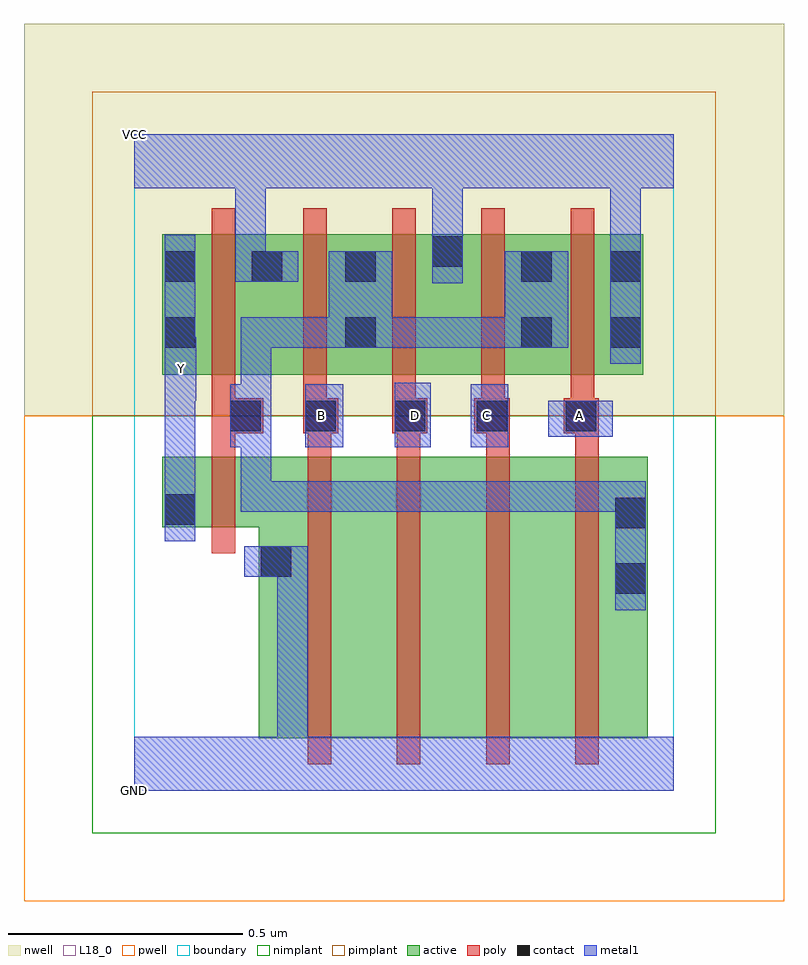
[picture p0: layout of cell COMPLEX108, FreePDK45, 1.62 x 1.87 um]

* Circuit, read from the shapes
.subckt COMPLEX108 A B C D GND VCC Y
M1 GND n1 Y VSUBS nfet w=0.15u l=0.05u
M2 n2 B GND VSUBS nfet w=0.6u l=0.05u
M3 n3 D n2 VSUBS nfet w=0.6u l=0.05u
M4 n4 C n3 VSUBS nfet w=0.6u l=0.05u
M5 n1 A n4 VSUBS nfet w=0.6u l=0.05u
M6 VCC n1 Y n5 pfet w=0.3u l=0.05u
M7 n1 B VCC n5 pfet w=0.3u l=0.05u
M8 VCC D n1 n5 pfet w=0.3u l=0.05u
M9 n1 C VCC n5 pfet w=0.3u l=0.05u
M10 VCC A n1 n5 pfet w=0.3u l=0.05u
.ends

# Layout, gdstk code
import gdstk
lib = gdstk.Library(unit=1e-6, precision=1e-09)
def R(c, l, rs):  # rectangles x0, y0, x1, y1
    for r in rs: c.add(gdstk.rectangle(r[:2], r[2:], *l))
def A(c, l, x, y, w, h, nx, ny, dx, dy):  # array of equal rectangles
    R(c, l, [(x+i*dx, y+j*dy, x+i*dx+w, y+j*dy+h) for i in range(nx) for j in range(ny)])
active = (1, 0)
pwell = (2, 0)
nwell = (3, 0)
nimplant = (4, 0)
pimplant = (5, 0)
poly = (9, 0)
contact = (10, 0)
metal1 = (11, 0)
L18_0 = (18, 0)
boundary = (235, 0)

complex108 = lib.new_cell('COMPLEX108')
R(complex108, active, [(0.265,0.112,0.49,0.712), (0.49,0.112,0.68,0.712), (0.68,0.112,0.87,0.712), (0.87,0.112,1.095,0.712), (1.02,0.145,1.095,0.712), (0.265,0.452,0.34,0.697), (0.06,0.562,0.34,0.712), (0.06,0.562,0.135,0.712), (0.06,0.887,0.135,1.167), (0.06,0.887,0.32,1.187), (0.245,0.887,0.52,1.187), (0.445,0.887,0.52,1.167), (0.445,0.887,0.705,1.187), (0.63,0.887,0.895,1.187), (0.82,0.887,1.085,1.187), (0.82,0.887,0.895,1.187), (1.01,0.887,1.085,1.167), (0.245,1.002,0.32,1.167), (0.63,1.002,0.705,1.187)])
R(complex108, pwell, [(-0.235,-0.235,1.385,0.8)])
R(complex108, nwell, [(-0.235,0.8,1.385,1.635)])
R(complex108, nimplant, [(-0.09,-0.09,1.24,0.8)])
R(complex108, pimplant, [(-0.09,0.8,1.24,1.49)])
A(complex108, poly, 0.37, 0.057, 0.05, 0.71, 4, 1, 0.19, 0)
A(complex108, poly, 0.37, 0.717, 0.05, 0.095, 4, 1, 0.19, 0)
A(complex108, poly, 0.36, 0.787, 0.05, 0.095, 4, 1, 0.19, 0)
A(complex108, poly, 0.36, 0.832, 0.05, 0.41, 4, 1, 0.19, 0)
R(complex108, poly, [(0.165,0.507,0.215,0.767), (0.165,0.717,0.215,0.812), (0.165,0.762,0.275,0.837), (0.36,0.762,0.435,0.837), (0.55,0.762,0.625,0.837), (0.725,0.762,0.8,0.837), (0.915,0.762,0.99,0.837), (0.165,0.787,0.215,0.882), (0.165,0.832,0.215,1.242)])
R(complex108, contact, [(1.025,0.42,1.09,0.485), (0.27,0.457,0.335,0.522), (1.025,0.56,1.09,0.625), (0.065,0.567,0.13,0.632), (0.205,0.767,0.27,0.832), (0.365,0.767,0.43,0.832), (0.555,0.767,0.62,0.832), (0.73,0.767,0.795,0.832), (0.92,0.767,0.985,0.832), (0.065,0.945,0.13,1.01), (0.45,0.945,0.515,1.01), (0.825,0.945,0.89,1.01), (1.015,0.945,1.08,1.01), (0.065,1.085,0.13,1.15), (0.25,1.085,0.315,1.15), (0.45,1.085,0.515,1.15), (0.825,1.085,0.89,1.15), (1.015,1.085,1.08,1.15), (0.635,1.117,0.7,1.182)])
R(complex108, metal1, [(0,0,1.15,0.115), (0.305,0.05,0.37,0.522), (1.025,0.385,1.09,0.66), (0.235,0.457,0.37,0.522), (0.305,0.457,0.37,0.522), (0.305,0.457,0.37,0.522), (0.065,0.532,0.13,0.667), (0.227,0.595,0.292,0.66), (0.227,0.595,0.442,0.66), (0.227,0.595,0.292,0.797), (0.377,0.595,0.442,0.66), (0.377,0.595,0.442,0.66), (0.377,0.595,0.442,0.66), (0.377,0.595,0.58,0.66), (0.515,0.595,0.58,0.66), (0.515,0.595,0.717,0.66), (0.652,0.595,0.717,0.66), (0.652,0.595,0.717,0.66), (0.652,0.595,0.717,0.66), (0.652,0.595,0.942,0.66), (0.877,0.595,0.942,0.66), (0.877,0.595,0.942,0.66), (0.877,0.595,0.942,0.66), (0.877,0.595,1.09,0.66), (0.065,0.602,0.13,0.897), (0.205,0.732,0.27,0.867), (0.205,0.732,0.292,0.797), (0.227,0.732,0.292,0.797), (0.227,0.732,0.292,1.01), (0.365,0.732,0.445,0.867), (0.555,0.732,0.632,0.87), (0.717,0.732,0.797,0.867), (0.882,0.755,1.02,0.832), (0.065,0.832,0.132,0.967), (0.065,0.902,0.13,0.975), (0.065,0.91,0.13,1.185), (1.015,0.91,1.08,1.185), (0.227,0.945,0.292,1.01), (0.227,0.945,0.442,1.01), (0.377,0.945,0.442,1.01), (0.377,0.945,0.48,1.01), (0.415,0.945,0.55,1.15), (0.485,0.945,0.58,1.01), (0.515,0.945,0.58,1.01), (0.515,0.945,0.717,1.01), (0.652,0.945,0.717,1.01), (0.652,0.945,0.717,1.01), (0.652,0.945,0.717,1.01), (0.652,0.945,0.855,1.01), (0.79,0.945,0.925,1.15), (0.635,1.082,0.7,1.217), (0.215,1.085,0.28,1.15), (0.215,1.085,0.28,1.15), (0.215,1.085,0.28,1.35), (0.215,1.085,0.35,1.15), (1.015,1.12,1.08,1.35), (0.635,1.152,0.7,1.217), (0.635,1.152,0.7,1.217), (0.635,1.152,0.7,1.35), (0,1.285,1.15,1.4), (1.015,1.285,1.08,1.35), (1.015,1.285,1.08,1.35)])
R(complex108, L18_0, [(0,0,1.15,0.115), (0.305,0.05,0.37,0.522), (0.235,0.457,0.37,0.522), (0.305,0.457,0.37,0.522), (0.305,0.457,0.37,0.522), (0.065,0.532,0.13,0.667), (0.065,0.602,0.13,0.897), (0.365,0.732,0.445,0.867), (0.555,0.732,0.632,0.87), (0.717,0.732,0.797,0.867), (0.882,0.755,1.02,0.832), (0.367,0.767,0.432,0.832), (0.567,0.767,0.632,0.832), (0.717,0.767,0.782,0.832), (0.917,0.767,0.982,0.832), (0.065,0.832,0.132,0.967), (0.067,0.867,0.132,0.932), (0.065,0.902,0.13,0.975), (0.065,0.91,0.13,1.185), (1.015,0.91,1.08,1.185), (0.635,1.082,0.7,1.217), (0.215,1.085,0.28,1.15), (0.215,1.085,0.28,1.15), (0.215,1.085,0.35,1.15), (0.215,1.085,0.28,1.35), (1.015,1.12,1.08,1.35), (0.635,1.152,0.7,1.217), (0.635,1.152,0.7,1.217), (0.635,1.152,0.7,1.35), (0,1.285,1.15,1.4), (1.015,1.285,1.08,1.35), (1.015,1.285,1.08,1.35)])
R(complex108, boundary, [(0,0,1.15,1.4)])
complex108.add(gdstk.Label('A', (0.95,0.8), layer=11, texttype=0))
complex108.add(gdstk.Label('B', (0.4,0.8), layer=11, texttype=0))
complex108.add(gdstk.Label('C', (0.75,0.8), layer=11, texttype=0))
complex108.add(gdstk.Label('D', (0.6,0.8), layer=11, texttype=0))
complex108.add(gdstk.Label('Y', (0.1,0.9), layer=11, texttype=0))
complex108.add(gdstk.Label('VCC', (0,1.4), layer=11, texttype=0))
complex108.add(gdstk.Label('GND', (0,0), layer=11, texttype=0))

lib.write_gds('COMPLEX108.gds')
